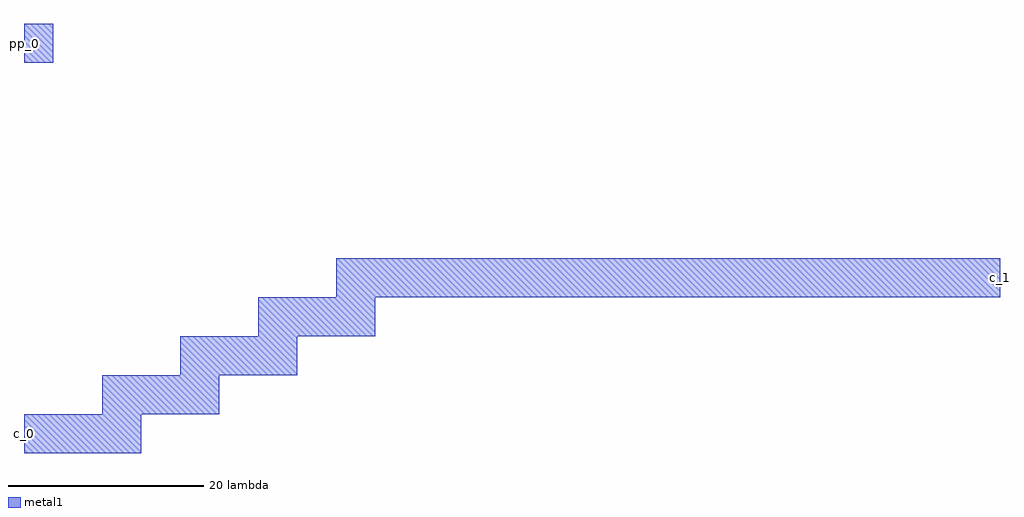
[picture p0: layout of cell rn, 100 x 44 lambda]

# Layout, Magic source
magic
tech exttest
<< metal1 >>
rect 0 0 12 4
rect 8 4 20 8
rect 16 8 28 12
rect 24 12 36 16
rect 32 16 100 20
rect 0 40 3 44
<< labels >>
rlabel metal1 0 0 0 4 0 c_0
port 1 nsew
rlabel metal1 100 16 100 20 0 c_1
port 2 nsew
rlabel metal1 0 40 0 44 0 pp_0
port 3 nsew
rlabel metal1 3 40 3 44 0 pp_1
port 4 nsew
<< end >>
